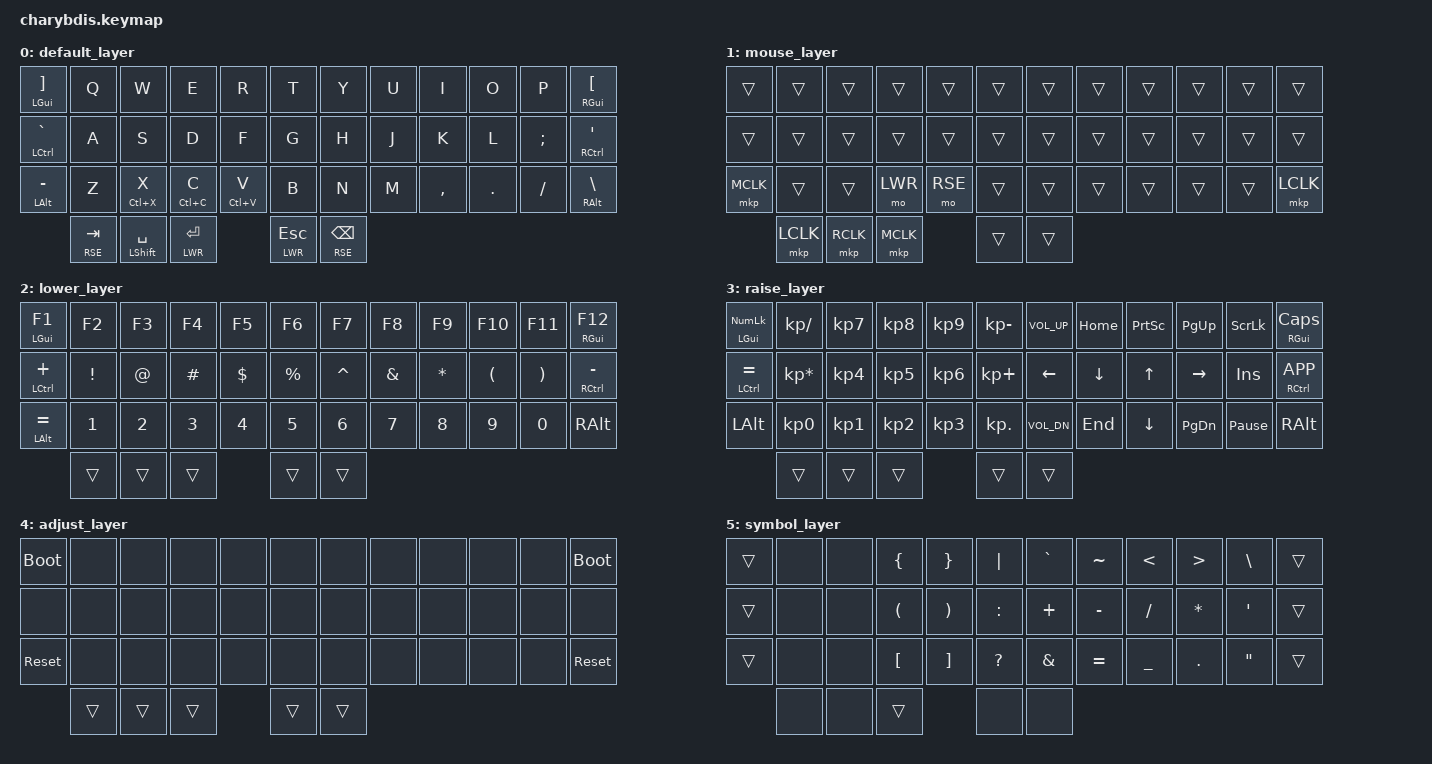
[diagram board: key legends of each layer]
#include <behaviors.dtsi>
#include <dt-bindings/zmk/keys.h>
#include <dt-bindings/zmk/pointing.h>

#define DEF 0
#define MOU 1
#define LWR 2
#define RSE 3
#define ADJ 4
#define SYM 5


// ╭──────┬──────┬──────┬──────┬──────┬──────╮  ╭──────┬──────┬──────┬──────┬──────┬──────╮
//    00     01     02     03    04      05        06     07     08     09     10     11
// ├──────┼──────┼──────┼──────┼──────┼──────┤  ├──────┼──────┼──────┼──────┼──────┼──────┤
//    12     13     14     15    16      17        18     19     20     21     22     23
// ├──────┼──────┼──────┼──────┼──────┼──────┤  ├──────┼──────┼──────┼──────┼──────┼──────┤
//    24     25     26     27    28      29        30     31     32     33     34     35
// ╰──────┴──────┴──────┼──────┼──────┼──────┤  ├──────┼──────┼──────┴──────┴──────┴──────╯
//                         36     37     38        39     40
//                      ╰──────┴──────┴──────╯  ╰──────┴──────╯


#define KEYS_L 0 1 2 3 4 10 11 12 13 14 20 21 22 23 24
#define KEYS_R 5 6 7 8 9 15 16 17 18 19 25 26 27 28 29
#define THUMBS 30 31 32 33 34 35

&sk {
  release-after-ms = <600>;
  quick-release;
};

&sl {
  ignore-modifiers;
};

&mt {
  flavor = "tap-preferred";
};

&lt {
  flavor = "balanced";
  tapping-term-ms = <200>;
  quick-tap-ms = <175>;
};

&caps_word {
  /delete-property/ ignore-modifiers;
};

/ {
  behaviors {
    smart_shift: smart_shift {
      compatible = "zmk,behavior-mod-morph";
      #binding-cells = <0>;
      bindings = <&sk LSHIFT>, <&caps_word>;
      mods = <(MOD_LSFT)>;
    };
  };

  combos {
    compatible = "zmk,combos";
    timeout-ms = <20>;
    require-prior-idle-ms = <250>;

    combo_caps {
      key-positions = <19 22>;
      bindings = <&kp CLCK>;
    };
    combo_default_layer {
      key-positions = <13 16>;
      bindings = <&to DEF>;
    };
    combo_rshift {
      key-positions = <39 40>;
      bindings = <&kp RSHIFT>;
    };
    combo_symbol_layer {
      key-positions = <31 34>;
      bindings = <&to SYM>;
    };
    combo_adj_layer_left {
      key-positions = <00 29>;
      bindings = <&to ADJ>;
    };
    combo_adj_layer_right {
      key-positions = <11 30>;
      bindings = <&to ADJ>;
    };
    combo_bootloader_central {
      key-positions = <24 11>;
      bindings = <&bootloader>;
      require-prior-idle-ms = <2000>;
    };
  };

  conditional_layers {
    compatible = "zmk,conditional-layers";

    tri-layer {
      if-layers = <2 3>;
      then-layer = <4>;
    };
  };

  chosen {
    zmk,physical-layout = &charybdis_6col_layout;
  };

  keymap {
    compatible = "zmk,keymap";

    default_layer {
      bindings = <
        &mt LGUI RBKT     &kp Q   &kp W           &kp E         &kp R             &kp T         &kp Y         &kp U            &kp I         &kp O     &kp P      &mt RGUI LBKT
        &mt LCTRL GRAVE   &kp A   &kp S           &kp D         &kp F             &kp G         &kp H         &kp J            &kp K         &kp L     &kp SEMI   &mt RCTRL SQT
        &mt LALT MINUS    &kp Z   &mt LC(X) X     &mt LC(C) C   &mt LC(V) V       &kp B         &kp N         &kp M            &kp COMMA     &kp DOT   &kp FSLH   &mt RALT BSLH
                  &lt RSE TAB &mt LSHFT SPACE     &lt LWR RET                     &lt LWR ESC   &lt RSE BSPC
      >;
    };

    mouse_layer {
      bindings = <
        &trans      &trans  &trans     &trans  &trans     &trans    &trans  &trans  &trans  &trans  &trans     &trans
        &trans      &trans  &trans     &trans  &trans     &trans    &trans  &trans  &trans  &trans  &trans     &trans
        &mkp MCLK   &trans  &trans     &mo LWR &mo RSE    &trans    &trans  &trans  &trans  &trans  &trans  &mkp LCLK
                        &mkp LCLK   &mkp RCLK  &mkp MCLK    &trans    &trans
      >;
    };

    lower_layer {
      bindings = <
        &mt LGUI F1      &kp F2     &kp F3   &kp F4        &kp F5     &kp F6      &kp F7      &kp F8     &kp F9        &kp F10    &kp F11    &mt RGUI F12
        &mt LCTRL PLUS   &kp EXCL   &kp AT   &kp HASH      &kp DLLR   &kp PRCNT   &kp CARET   &kp AMPS   &kp STAR      &kp LPAR   &kp RPAR   &mt RCTRL MINUS
        &mt LALT EQUAL   &kp N1     &kp N2   &kp N3        &kp N4     &kp N5      &kp N6      &kp N7     &kp N8        &kp N9     &kp N0     &kp RALT
                                              &trans        &trans     &trans      &trans      &trans
      >;
    };

    raise_layer {
      bindings = <
        &mt LGUI KP_NUM   &kp KP_SLASH      &kp KP_N7   &kp KP_N8   &kp KP_N9   &kp KP_MINUS   &kp C_VOL_UP   &kp HOME   &kp PSCRN   &kp PG_UP   &kp SLCK          &mt RGUI CLCK
        &mt LCTRL EQUAL   &kp KP_MULTIPLY   &kp KP_N4   &kp KP_N5   &kp KP_N6   &kp KP_PLUS    &kp LEFT       &kp DOWN   &kp UP      &kp RIGHT   &kp INS           &mt RCTRL  K_APP
        &kp LALT          &kp KP_N0         &kp KP_N1   &kp KP_N2   &kp KP_N3   &kp KP_DOT     &kp C_VOL_DN   &kp END    &kp DOWN    &kp PG_DN   &kp PAUSE_BREAK   &kp RALT
                                                        &trans      &trans      &trans         &trans         &trans
      >;
    };

    adjust_layer {
      bindings = <
        &bootloader     &none   &none   &none          &none          &none          &none          &none          &none          &none          &none          &bootloader
        &none           &none   &none   &none          &none          &none          &none          &none          &none          &none          &none          &none
        &sys_reset      &none   &none   &none          &none          &none          &none          &none          &none          &none          &none          &sys_reset
                                        &trans         &trans         &trans         &trans         &trans
      >;
    };

    symbol_layer {
      bindings = <
        &trans   &none &none &kp LEFT_BRACE       &kp RIGHT_BRACE       &kp PIPE              &kp GRAVE &kp TILDE &kp LESS_THAN &kp GREATER_THAN &kp BACKSLASH            &trans
        &trans   &none &none &kp LEFT_PARENTHESIS &kp RIGHT_PARENTHESIS &kp COLON             &kp PLUS  &kp MINUS &kp SLASH     &kp ASTRK        &kp SINGLE_QUOTE         &trans
        &trans   &none &none &kp LEFT_BRACKET     &kp RIGHT_BRACKET     &kp QUESTION          &kp AMPS  &kp EQUAL &kp UNDER     &kp PERIOD       &kp DOUBLE_QUOTES        &trans
                    &none                &none                 &trans                &none     &none
      >;
    };
  };
};
